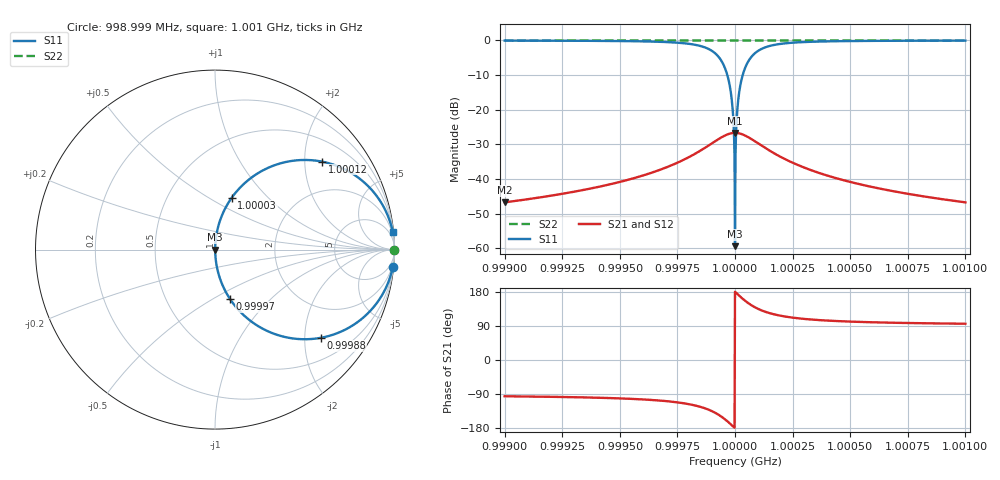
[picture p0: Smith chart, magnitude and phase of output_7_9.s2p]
! File generated for n1 = 7, n2 = 9
! b1 = 1.000000
! b2 = 0.002154
! Q0 = 10000.000000
! f0 = 1000000000.000000
! n = 1001
! rel_span = 10.000000
# Hz S RI R 50
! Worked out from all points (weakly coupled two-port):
!   1001 points, 998.999 MHz to 1.001 GHz, reference 50 ohm
!   highest |S21| = -26.68 dB at 1 GHz (marker M1); lowest = -46.7 dB at 998.999 MHz (marker M2)
!   lowest |S11| = -59.4 dB at 1 GHz (marker M3), VSWR 1.00, Z = 50.1 + j0 ohm
!   |S11| at or under -10 dB: 999.9666 MHz to 1.000033 GHz (66.77 kHz wide, 0.00668 % of centre)
!   |S22| runs from 0.0 to 0.0 dB; largest |S21 - S12| = 0
!   S11 on the Smith chart (normalised r, x): 998.999 MHz: 1, -20; 999.88 MHz: 1.00, -2.40; 999.97 MHz: 1.00, -0.60; 1.00003 GHz: 1.00, +0.64; 1.00012 GHz: 1.00, +2.44; 1.001 GHz: 1, +20
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9.989989e8  0.9901 -0.0989  -0.000459 -0.00459  -0.000459 -0.00459  1 -0.000213
9.993333e8  0.978 -0.1466  -0.00102 -0.00681  -0.00102 -0.00681  1 -0.000316
9.996676e8  0.9169 -0.2758  -0.00386 -0.0128  -0.00386 -0.0128  0.9998 -0.000594
9.997958e8  0.8065 -0.3948  -0.00898 -0.0183  -0.00898 -0.0183  0.9996 -0.000851
9.998799e8  0.5906 -0.4913  -0.019 -0.0228  -0.019 -0.0228  0.9991 -0.00106
9.999359e8  0.2914 -0.4535  -0.0329 -0.0211  -0.0329 -0.0211  0.9985 -0.000977
9.9997e8  0.0836 -0.2749  -0.0425 -0.0128  -0.0425 -0.0128  0.998 -0.000592
9.99982e8  0.0324 -0.1742  -0.0449 -0.00808  -0.0449 -0.00808  0.9979 -0.000375
9.99988e8  0.0153 -0.1182  -0.0457 -0.00548  -0.0457 -0.00548  0.9979 -0.000255
9.99992e8  0.00743 -0.0794  -0.0461 -0.00369  -0.0461 -0.00369  0.9979 -0.000171
1e9  0.00108 0  -0.0464 0  -0.0464 0  0.9978 0
1.000008e9  0.00743 0.0794  -0.0461 0.00369  -0.0461 0.00369  0.9979 0.000171
1.00001e9  0.011 0.0989  -0.0459 0.00459  -0.0459 0.00459  0.9979 0.000213
1.000012e9  0.0153 0.1182  -0.0457 0.00548  -0.0457 0.00548  0.9979 0.000255
1.000018e9  0.0324 0.1742  -0.0449 0.00808  -0.0449 0.00808  0.9979 0.000375
1.000032e9  0.0939 0.29  -0.0421 0.0135  -0.0421 0.0135  0.998 0.000625
1.000066e9  0.3042 0.4592  -0.0323 0.0213  -0.0323 0.0213  0.9985 0.000989
1.000122e9  0.5985 0.4898  -0.0186 0.0227  -0.0186 0.0227  0.9991 0.00106
1.000206e9  0.8095 0.3925  -0.00884 0.0182  -0.00884 0.0182  0.9996 0.000846
1.000334e9  0.9178 0.2745  -0.00382 0.0127  -0.00382 0.0127  0.9998 0.000591
1.000669e9  0.9781 0.1463  -0.00102 0.00679  -0.00102 0.00679  1 0.000315
1.001001e9  0.9901 0.099  -0.00046 0.00459  -0.00046 0.00459  1 0.000213
